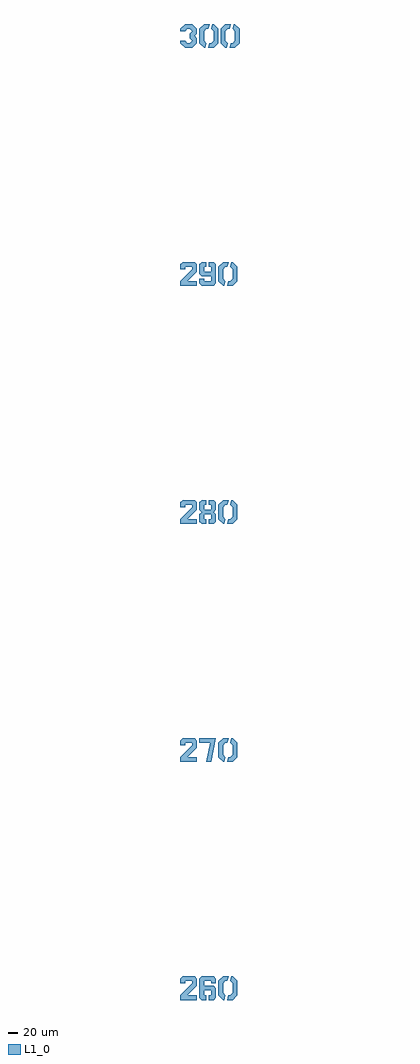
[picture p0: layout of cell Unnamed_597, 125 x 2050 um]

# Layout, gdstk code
import gdstk
lib = gdstk.Library(unit=1e-6, precision=1e-09)
def P(c, l, *ps):  # polygons
    for p in ps: c.add(gdstk.Polygon(p, *l))
L1_0 = (1, 0)

text_t300_s50_p0_0_jleft = lib.new_cell('text_T300_S50_P0_0_Jleft_L1_0')
P(text_t300_s50_p0_0_jleft, L1_0, [(15,0),(5,10),(5,15),(15,15),(20,10),(25,10),(30,15),(25,20),(25,30),(30,35),(25,40),(20,40),(15,35),(5,35),(5,40),(15,50),(30,50),(40,40),(40,30),(35,25),(40,20),(40,10),(30,0)],
  [(55,0),(45,10),(45,40),(55,50),(66.5,50),(64,40),(60,40),(55,35),(55,15),(60,10),(57.5,0)],
  [(63.5,0),(66,10),(70,10),(75,15),(75,35),(70,40),(72.5,50),(75,50),(85,40),(85,10),(75,0)],
  [(100,0),(90,10),(90,40),(100,50),(111.5,50),(109,40),(105,40),(100,35),(100,15),(105,10),(102.5,0)],
  [(108.5,0),(111,10),(115,10),(120,15),(120,35),(115,40),(117.5,50),(120,50),(130,40),(130,10),(120,0)])

text_t290_s50_p0_0_jleft = lib.new_cell('text_T290_S50_P0_0_Jleft_L1_0')
P(text_t290_s50_p0_0_jleft, L1_0, [(5,0),(5,10),(30,35),(30,40),(15,40),(15,35),(5,35),(5,45),(10,50),(35,50),(40,45),(40,30),(20,10),(40,10),(40,0)],
  [(50,0),(45,5),(45,15),(55,15),(55,10),(70,10),(70,20),(50,20),(45,25),(45,45),(50,50),(60,50),(60,40),(55,40),(55,30),(70,30),(70,40),(65,40),(65,50),(75,50),(80,45),(80,5),(75,0)],
  [(95,0),(85,10),(85,40),(95,50),(106.5,50),(104,40),(100,40),(95,35),(95,15),(100,10),(97.5,0)],
  [(103.5,0),(106,10),(110,10),(115,15),(115,35),(110,40),(112.5,50),(115,50),(125,40),(125,10),(115,0)])

text_t280_s50_p0_0_jleft = lib.new_cell('text_T280_S50_P0_0_Jleft_L1_0')
P(text_t280_s50_p0_0_jleft, L1_0, [(5,0),(5,10),(30,35),(30,40),(15,40),(15,35),(5,35),(5,45),(10,50),(35,50),(40,45),(40,30),(20,10),(40,10),(40,0)],
  [(50,0),(45,5),(45,20),(50,25),(45,30),(45,45),(50,50),(60,50),(60,40),(55,40),(55,30),(70,30),(70,40),(65,40),(65,50),(75,50),(80,45),(80,30),(75,25),(80,20),(80,5),(75,0),(65,0),(65,10),(70,10),(70,20),(55,20),(55,10),(60,10),(60,0)],
  [(95,0),(85,10),(85,40),(95,50),(106.5,50),(104,40),(100,40),(95,35),(95,15),(100,10),(97.5,0)],
  [(103.5,0),(106,10),(110,10),(115,15),(115,35),(110,40),(112.5,50),(115,50),(125,40),(125,10),(115,0)])

text_t270_s50_p0_0_jleft = lib.new_cell('text_T270_S50_P0_0_Jleft_L1_0')
P(text_t270_s50_p0_0_jleft, L1_0, [(5,0),(5,10),(30,35),(30,40),(15,40),(15,35),(5,35),(5,45),(10,50),(35,50),(40,45),(40,30),(20,10),(40,10),(40,0)],
  [(60,0),(68,40),(45,40),(45,50),(80,50),(70,0)],
  [(95,0),(85,10),(85,40),(95,50),(106.5,50),(104,40),(100,40),(95,35),(95,15),(100,10),(97.5,0)],
  [(103.5,0),(106,10),(110,10),(115,15),(115,35),(110,40),(112.5,50),(115,50),(125,40),(125,10),(115,0)])

text_t260_s50_p0_0_jleft = lib.new_cell('text_T260_S50_P0_0_Jleft_L1_0')
P(text_t260_s50_p0_0_jleft, L1_0, [(5,0),(5,10),(30,35),(30,40),(15,40),(15,35),(5,35),(5,45),(10,50),(35,50),(40,45),(40,30),(20,10),(40,10),(40,0)],
  [(50,0),(45,5),(45,45),(50,50),(75,50),(80,45),(80,35),(70,35),(70,40),(55,40),(55,30),(75,30),(80,25),(80,5),(75,0),(65,0),(65,10),(70,10),(70,20),(55,20),(55,10),(60,10),(60,0)],
  [(95,0),(85,10),(85,40),(95,50),(106.5,50),(104,40),(100,40),(95,35),(95,15),(100,10),(97.5,0)],
  [(103.5,0),(106,10),(110,10),(115,15),(115,35),(110,40),(112.5,50),(115,50),(125,40),(125,10),(115,0)])

unnamed_597 = lib.new_cell('Unnamed_597')
unnamed_597.add(gdstk.Reference(text_t300_s50_p0_0_jleft, (0,0)))
unnamed_597.add(gdstk.Reference(text_t290_s50_p0_0_jleft, (0,-500)))
unnamed_597.add(gdstk.Reference(text_t280_s50_p0_0_jleft, (0,-1000)))
unnamed_597.add(gdstk.Reference(text_t270_s50_p0_0_jleft, (0,-1500)))
unnamed_597.add(gdstk.Reference(text_t260_s50_p0_0_jleft, (0,-2000)))

lib.write_gds('Unnamed_597.gds')
